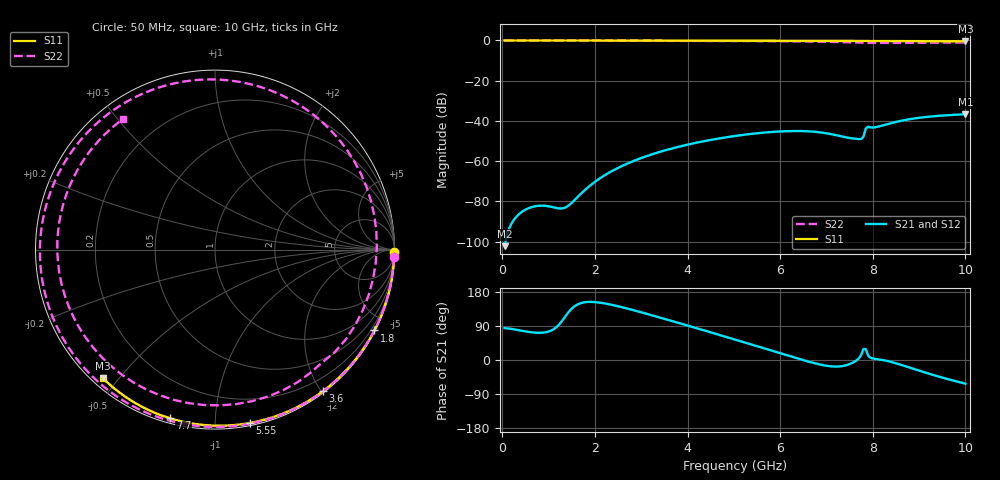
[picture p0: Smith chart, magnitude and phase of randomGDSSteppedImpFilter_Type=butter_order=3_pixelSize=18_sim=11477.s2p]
! freq	dB(S11)	phase(S11)	dB(S12)	phase(S12)
!  dB(S21)	phase(S21)	dB(S22)	phase(S22)
!S-par simulation data
#  GHz  S  DB  R 50
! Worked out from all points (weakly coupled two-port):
!   200 points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, 50 MHz to 10 GHz, reference 50 ohm
!   highest |S21| = -36.66 dB at 10 GHz (marker M1); lowest = -102.2 dB at 50 MHz (marker M2)
!   lowest |S11| = -0.4 dB at 10 GHz (marker M3), VSWR 39.17, Z = 1.54 - j22.7 ohm
!   |S11| at or under -10 dB: nowhere
!   |S22| runs from -1.2 to 0.0 dB; largest |S21 - S12| = 0
!   S11 on the Smith chart (normalised r, x): 50 MHz: open; 1.8 GHz: 0.04, -4.18; 3.6 GHz: 0.02, -2.03; 5.55 GHz: 0.02, -1.22; 7.7 GHz: 0.02, -0.77; 10 GHz: 0.03, -0.45
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0.05  -0.00 -0.8  -102.20 84.2  -102.20 84.2  -0.03 -2.4
0.7  -0.01 -10.6  -82.41 72.3  -82.41 72.3  -0.04 -32.7
1.5  -0.03 -22.5  -80.66 135.6  -80.66 135.6  -0.08 -68.1
1.75  -0.03 -26.1  -75.01 151.7  -75.01 151.7  -0.09 -78.6
1.8  -0.03 -26.9  -73.97 152.7  -73.97 152.7  -0.09 -80.6
2.45  -0.05 -36.3  -63.88 143.2  -63.88 143.2  -0.12 -106.3
3.4  -0.07 -49.8  -55.37 112.1  -55.37 112.1  -0.16 -141.2
3.6  -0.07 -52.6  -54.05 105.1  -54.05 105.1  -0.17 -148.4
4.35  -0.09 -62.8  -50.06 78.4  -50.06 78.4  -0.21 -175.2
5.05  -0.11 -72.1  -47.37 53.0  -47.37 53.0  -0.26 158.1
5.55  -0.13 -78.5  -46.00 34.6  -46.00 34.6  -0.31 136.9
6.2  -0.16 -86.7  -45.03 10.4  -45.03 10.4  -0.41 103.7
6.7  -0.18 -92.9  -45.28 -7.2  -45.28 -7.2  -0.54 70.7
7.3  -0.21 -100.1  -47.53 -16.7  -47.53 -16.7  -0.81 17.2
7.7  -0.24 -104.8  -49.00 4.5  -49.00 4.5  -1.04 -28.3
7.9  -0.25 -107.2  -42.85 11.7  -42.85 11.7  -1.23 -52.1
8.1  -0.27 -109.5  -42.92 2.3  -42.92 2.3  -1.21 -76.3
8.35  -0.29 -112.4  -41.35 -3.6  -41.35 -3.6  -1.23 -105.1
8.7  -0.31 -116.4  -39.50 -16.3  -39.50 -16.3  -1.20 -140.9
9.05  -0.35 -120.4  -38.28 -30.0  -38.28 -30.0  -1.14 -171.2
9.45  -0.39 -125.0  -37.40 -44.7  -37.40 -44.7  -1.08 159.5
10  -0.44 -131.1  -36.66 -62.4  -36.66 -62.4  -1.01 125.2
